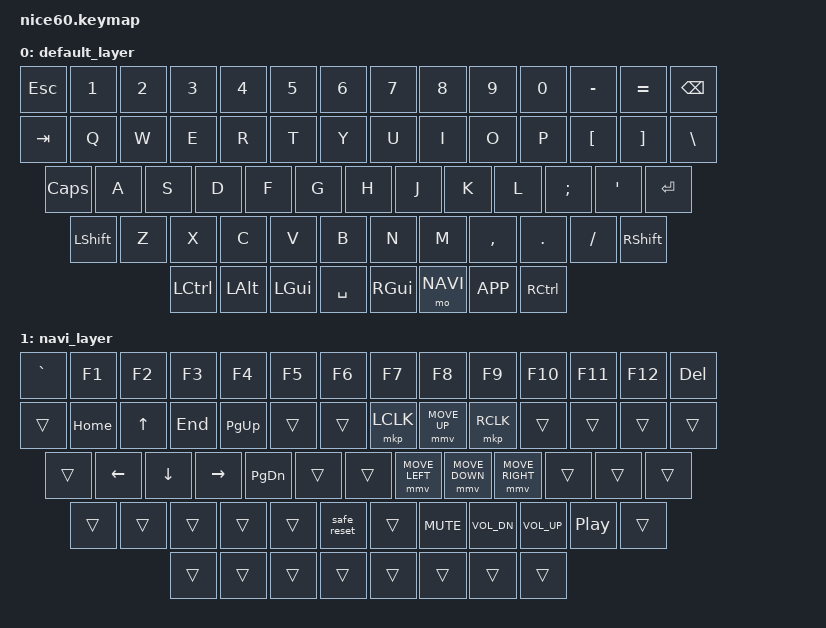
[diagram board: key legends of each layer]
#include <behaviors.dtsi>
#include <dt-bindings/zmk/keys.h>
#include <dt-bindings/zmk/pointing.h>

#define DEFAULT 0
#define NAVI 1

/ {
    behaviors {
        safe_reset: safe_sys_reset {
            compatible = "zmk,behavior-mod-morph";
            #binding-cells = <0>;
            bindings = <&trans>, <&sys_reset>;
            mods = <(MOD_LSFT|MOD_RSFT)>;
        };
    };

    keymap {
        compatible = "zmk,keymap";

        default_layer {
            bindings = <
                &kp ESC &kp N1 &kp N2 &kp N3 &kp N4 &kp N5 &kp N6 &kp N7 &kp N8 &kp N9 &kp N0 &kp MINUS &kp EQUAL &kp BSPC
                &kp TAB &kp Q &kp W &kp E &kp R &kp T &kp Y &kp U &kp I &kp O &kp P &kp LBKT &kp RBKT &kp BSLH
                &kp CLCK &kp A &kp S &kp D &kp F &kp G &kp H &kp J &kp K &kp L &kp SEMI &kp SQT &kp RET
                &kp LSHFT &kp Z &kp X &kp C &kp V &kp B &kp N &kp M &kp COMMA &kp DOT &kp FSLH &kp RSHFT
                &kp LCTRL &kp LALT &kp LGUI &kp SPACE &kp RGUI &mo NAVI &kp K_APP &kp RCTRL
            >;
        };

        navi_layer {
            bindings = <
                &kp GRAVE &kp F1 &kp F2 &kp F3 &kp F4 &kp F5 &kp F6 &kp F7 &kp F8 &kp F9 &kp F10 &kp F11 &kp F12 &kp DEL
                &trans &kp HOME &kp UP &kp END &kp PG_UP &trans &trans &mkp LCLK &mmv MOVE_UP &mkp RCLK &trans &trans &trans &trans
                &trans &kp LEFT &kp DOWN &kp RIGHT &kp PG_DN &trans &trans &mmv MOVE_LEFT &mmv MOVE_DOWN &mmv MOVE_RIGHT &trans &trans &trans
                &trans &trans &trans &trans &trans &safe_reset &trans &kp C_MUTE &kp C_VOL_DN &kp C_VOL_UP &kp C_PP &trans
                &trans &trans &trans &trans &trans &trans &trans &trans
            >;
        };
    };
};
